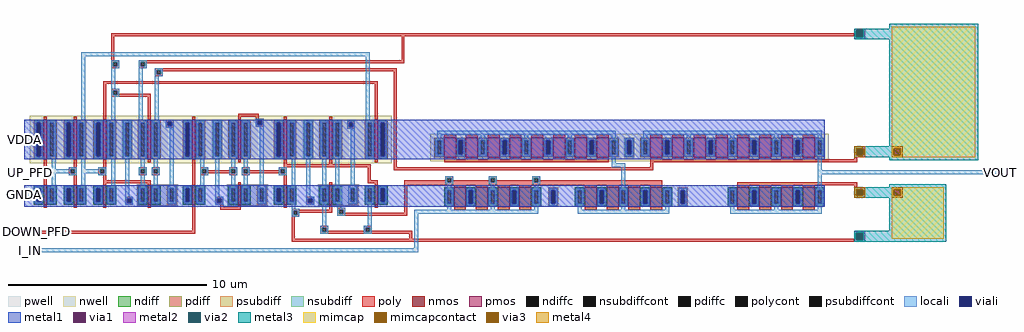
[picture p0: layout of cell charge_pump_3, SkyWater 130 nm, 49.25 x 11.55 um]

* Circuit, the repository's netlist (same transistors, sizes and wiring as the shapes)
* NGSPICE file created from charge_pump_3.ext - technology: sky130A

**.subckt charge_pump_3
X0 VDDA I_IN a_n3060_500# VDDA sky130_fd_pr__nfet_01v8 ad=0.25 pd=1.5 as=0.5 ps=3 w=1 l=0.6
X1 VOUT a_n5920_20# VDDA VDDA sky130_fd_pr__pfet_01v8 ad=0.25 pd=1.5 as=0.25 ps=1.5 w=1 l=0.6
X2 VDDA a_n6670_20# a_n6670_20# VDDA sky130_fd_pr__pfet_01v8 ad=1 pd=5 as=1 ps=5 w=2 l=0.15
X3 a_n3060_500# a_n2960_450# VDDA VDDA sky130_fd_pr__pfet_01v8 ad=0.25 pd=1.5 as=0.25 ps=1.5 w=1 l=0.6
X4 I_IN a_n4550_20# a_n4550_20# VDDA sky130_fd_pr__nfet_01v8 ad=0.5 pd=3 as=0.5 ps=3 w=1 l=0.15
X5 c1_1560_n320# li_1180_n350# sky130_fd_pr__cap_mim_m3_1 l=2.6 w=2.6
X6 a_n5470_20# DOWN_PFD VDDA VDDA sky130_fd_pr__pfet_01v8 ad=1 pd=5 as=1 ps=5 w=2 l=0.15
X7 a_n4550_20# a_n5010_20# VDDA VDDA sky130_fd_pr__nfet_01v8 ad=0.5 pd=3 as=0.5 ps=3 w=1 l=0.15
X8 VDDA a_0_n30# VOUT VDDA sky130_fd_pr__nfet_01v8 ad=0.25 pd=1.5 as=0.5 ps=3 w=1 l=0.6
X9 a_n6370_20# a_n6670_20# VDDA VDDA sky130_fd_pr__pfet_01v8 ad=1 pd=5 as=1 ps=5 w=2 l=0.15
X10 VDDA a_n2960_450# a_n3060_500# VDDA sky130_fd_pr__pfet_01v8 ad=0.25 pd=1.5 as=0.25 ps=1.5 w=1 l=0.6
X11 VDDA I_IN I_IN VDDA sky130_fd_pr__nfet_01v8 ad=0.25 pd=1.5 as=0.5 ps=3 w=1 l=0.6
X12 a_n5920_20# a_n6670_20# a_n6370_20# VDDA sky130_fd_pr__nfet_01v8 ad=0.5 pd=3 as=0.5 ps=3 w=1 l=0.15
X13 VOUT a_0_n30# VDDA VDDA sky130_fd_pr__nfet_01v8 ad=0.25 pd=1.5 as=0.25 ps=1.5 w=1 l=0.6
X14 a_n6670_20# a_n6970_20# VDDA VDDA sky130_fd_pr__pfet_01v8 ad=1 pd=5 as=1 ps=5 w=2 l=0.15
X15 a_n3060_500# a_n2960_450# VDDA VDDA sky130_fd_pr__pfet_01v8 ad=0.5 pd=3 as=0.25 ps=1.5 w=1 l=0.6
X16 I_IN a_n5010_20# a_n4550_20# VDDA sky130_fd_pr__pfet_01v8 ad=1 pd=5 as=1 ps=5 w=2 l=0.15
X17 a_n6970_20# UP_PFD VDDA VDDA sky130_fd_pr__pfet_01v8 ad=1 pd=5 as=1 ps=5 w=2 l=0.15
X18 a_n6370_20# a_n6670_20# VDDA VDDA sky130_fd_pr__nfet_01v8 ad=0.5 pd=3 as=0.5 ps=3 w=1 l=0.15
X19 a_n5010_20# VDDA a_n5470_20# VDDA sky130_fd_pr__nfet_01v8 ad=0.5 pd=3 as=0.5 ps=3 w=1 l=0.15
X20 a_n5470_20# DOWN_PFD VDDA VDDA sky130_fd_pr__nfet_01v8 ad=0.5 pd=3 as=0.5 ps=3 w=1 l=0.15
X21 VDDA a_n2960_450# a_n3060_500# VDDA sky130_fd_pr__pfet_01v8 ad=0.25 pd=1.5 as=0.5 ps=3 w=1 l=0.6
X22 VDDA a_0_n30# VOUT VDDA sky130_fd_pr__nfet_01v8 ad=0.25 pd=1.5 as=0.25 ps=1.5 w=1 l=0.6
X23 a_n4550_20# a_n5010_20# VDDA VDDA sky130_fd_pr__pfet_01v8 ad=1 pd=5 as=1 ps=5 w=2 l=0.15
X24 a_n3060_500# a_n2960_450# VDDA VDDA sky130_fd_pr__pfet_01v8 ad=0.25 pd=1.5 as=0.25 ps=1.5 w=1 l=0.6
X25 VDDA a_n5920_20# VOUT VDDA sky130_fd_pr__pfet_01v8 ad=0.25 pd=1.5 as=0.5 ps=3 w=1 l=0.6
X26 a_n3060_500# a_n2960_450# VDDA VDDA sky130_fd_pr__pfet_01v8 ad=0.25 pd=1.5 as=0.25 ps=1.5 w=1 l=0.6
X27 a_n6670_20# a_n6970_20# VDDA VDDA sky130_fd_pr__nfet_01v8 ad=0.5 pd=3 as=0.5 ps=3 w=1 l=0.15
X28 VDDA I_IN I_IN VDDA sky130_fd_pr__nfet_01v8 ad=0.25 pd=1.5 as=0.25 ps=1.5 w=1 l=0.6
X29 VDDA a_n2960_450# a_n3060_500# VDDA sky130_fd_pr__pfet_01v8 ad=0.25 pd=1.5 as=0.25 ps=1.5 w=1 l=0.6
X30 a_n3060_500# I_IN VDDA VDDA sky130_fd_pr__nfet_01v8 ad=0.25 pd=1.5 as=0.25 ps=1.5 w=1 l=0.6
X31 VDDA a_n2960_450# a_n3060_500# VDDA sky130_fd_pr__pfet_01v8 ad=0.25 pd=1.5 as=0.25 ps=1.5 w=1 l=0.6
X32 VOUT a_n5920_20# VDDA VDDA sky130_fd_pr__pfet_01v8 ad=0.25 pd=1.5 as=0.25 ps=1.5 w=1 l=0.6
X33 VDDA a_n5920_20# VOUT VDDA sky130_fd_pr__pfet_01v8 ad=0.25 pd=1.5 as=0.25 ps=1.5 w=1 l=0.6
X34 VOUT a_n5920_20# VDDA VDDA sky130_fd_pr__pfet_01v8 ad=0.5 pd=3 as=0.25 ps=1.5 w=1 l=0.6
X35 VDDA a_n5010_20# a_n4550_20# VDDA sky130_fd_pr__nfet_01v8 ad=0.5 pd=3 as=0.5 ps=3 w=1 l=0.15
X36 I_IN I_IN VDDA VDDA sky130_fd_pr__nfet_01v8 ad=0.5 pd=3 as=0.25 ps=1.5 w=1 l=0.6
X37 c1_1560_500# li_1180_500# sky130_fd_pr__cap_mim_m3_1 l=6.6 w=4.2
X38 a_n5010_20# VDDA a_n5470_20# VDDA sky130_fd_pr__pfet_01v8 ad=1 pd=5 as=1 ps=5 w=2 l=0.15
X39 VDDA a_n5920_20# VOUT VDDA sky130_fd_pr__pfet_01v8 ad=0.25 pd=1.5 as=0.25 ps=1.5 w=1 l=0.6
X40 a_n6970_20# UP_PFD VDDA VDDA sky130_fd_pr__nfet_01v8 ad=0.5 pd=3 as=0.5 ps=3 w=1 l=0.15
X41 VOUT a_0_n30# VDDA VDDA sky130_fd_pr__nfet_01v8 ad=0.5 pd=3 as=0.25 ps=1.5 w=1 l=0.6
X42 VDDA I_IN a_n3060_500# VDDA sky130_fd_pr__nfet_01v8 ad=0.25 pd=1.5 as=0.25 ps=1.5 w=1 l=0.6
X43 a_n3060_500# I_IN VDDA VDDA sky130_fd_pr__nfet_01v8 ad=0.5 pd=3 as=0.25 ps=1.5 w=1 l=0.6
X44 a_n5920_20# a_n6370_20# a_n6370_20# VDDA sky130_fd_pr__pfet_01v8 ad=1 pd=5 as=1 ps=5 w=2 l=0.15
X45 VDDA a_n5920_20# VOUT VDDA sky130_fd_pr__pfet_01v8 ad=0.25 pd=1.5 as=0.25 ps=1.5 w=1 l=0.6
X46 I_IN I_IN VDDA VDDA sky130_fd_pr__nfet_01v8 ad=0.25 pd=1.5 as=0.25 ps=1.5 w=1 l=0.6
X47 VOUT a_n5920_20# VDDA VDDA sky130_fd_pr__pfet_01v8 ad=0.25 pd=1.5 as=0.25 ps=1.5 w=1 l=0.6
.ends

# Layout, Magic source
magic
tech sky130A
<< nwell >>
rect -3570 220 -1745 460
rect -1550 230 460 370
<< pwell >>
rect -3030 5 -2825 115
rect -2575 5 -2370 115
rect -2115 5 -1910 115
<< nmos >>
rect -3500 10 -3485 110
rect -3350 10 -3335 110
rect -3200 10 -3185 110
rect -2975 10 -2960 110
rect -2750 10 -2735 110
rect -2520 10 -2505 110
rect -2290 10 -2275 110
rect -2060 10 -2045 110
rect -1830 10 -1815 110
rect -1430 0 -1370 100
rect -1320 0 -1260 100
rect -1210 0 -1150 100
rect -1100 0 -1040 100
rect -770 0 -710 100
rect -660 0 -600 100
rect -550 0 -490 100
rect -440 0 -380 100
rect 0 0 60 100
rect 110 0 170 100
rect 220 0 280 100
rect 330 0 390 100
<< pmos >>
rect -3500 240 -3485 440
rect -3350 240 -3335 440
rect -3200 240 -3185 440
rect -2975 240 -2960 440
rect -2750 240 -2735 440
rect -2520 240 -2505 440
rect -2290 240 -2275 440
rect -2060 240 -2045 440
rect -1830 240 -1815 440
rect -1480 250 -1420 350
rect -1370 250 -1310 350
rect -1260 250 -1200 350
rect -1150 250 -1090 350
rect -1040 250 -980 350
rect -930 250 -870 350
rect -820 250 -760 350
rect -710 250 -650 350
rect -440 250 -380 350
rect -330 250 -270 350
rect -220 250 -160 350
rect -110 250 -50 350
rect 0 250 60 350
rect 110 250 170 350
rect 220 250 280 350
rect 330 250 390 350
<< ndiff >>
rect -3550 95 -3500 110
rect -3550 25 -3535 95
rect -3515 25 -3500 95
rect -3550 10 -3500 25
rect -3485 95 -3435 110
rect -3485 25 -3470 95
rect -3450 25 -3435 95
rect -3485 10 -3435 25
rect -3400 95 -3350 110
rect -3400 25 -3385 95
rect -3365 25 -3350 95
rect -3400 10 -3350 25
rect -3335 95 -3285 110
rect -3335 25 -3320 95
rect -3300 25 -3285 95
rect -3335 10 -3285 25
rect -3250 95 -3200 110
rect -3250 25 -3235 95
rect -3215 25 -3200 95
rect -3250 10 -3200 25
rect -3185 95 -3135 110
rect -3185 25 -3170 95
rect -3150 25 -3135 95
rect -3025 95 -2975 110
rect -3185 10 -3135 25
rect -3025 25 -3010 95
rect -2990 25 -2975 95
rect -3025 10 -2975 25
rect -2960 95 -2910 110
rect -2960 25 -2945 95
rect -2925 25 -2910 95
rect -2960 10 -2910 25
rect -2800 95 -2750 110
rect -2800 25 -2785 95
rect -2765 25 -2750 95
rect -2800 10 -2750 25
rect -2735 95 -2685 110
rect -2735 25 -2720 95
rect -2700 25 -2685 95
rect -2570 95 -2520 110
rect -2735 10 -2685 25
rect -2570 25 -2555 95
rect -2535 25 -2520 95
rect -2570 10 -2520 25
rect -2505 95 -2455 110
rect -2505 25 -2490 95
rect -2470 25 -2455 95
rect -2505 10 -2455 25
rect -2340 95 -2290 110
rect -2340 25 -2325 95
rect -2305 25 -2290 95
rect -2340 10 -2290 25
rect -2275 95 -2225 110
rect -2275 25 -2260 95
rect -2240 25 -2225 95
rect -2110 95 -2060 110
rect -2275 10 -2225 25
rect -2110 25 -2095 95
rect -2075 25 -2060 95
rect -2110 10 -2060 25
rect -2045 95 -1995 110
rect -2045 25 -2030 95
rect -2010 25 -1995 95
rect -2045 10 -1995 25
rect -1880 95 -1830 110
rect -1880 25 -1865 95
rect -1845 25 -1830 95
rect -1880 10 -1830 25
rect -1815 95 -1765 110
rect -1815 25 -1800 95
rect -1780 25 -1765 95
rect -1815 10 -1765 25
rect -1480 85 -1430 100
rect -1480 15 -1465 85
rect -1445 15 -1430 85
rect -1480 0 -1430 15
rect -1370 85 -1320 100
rect -1370 15 -1355 85
rect -1335 15 -1320 85
rect -1370 0 -1320 15
rect -1260 85 -1210 100
rect -1260 15 -1245 85
rect -1225 15 -1210 85
rect -1260 0 -1210 15
rect -1150 85 -1100 100
rect -1150 15 -1135 85
rect -1115 15 -1100 85
rect -1150 0 -1100 15
rect -1040 85 -990 100
rect -1040 15 -1025 85
rect -1005 15 -990 85
rect -1040 0 -990 15
rect -820 85 -770 100
rect -820 15 -805 85
rect -785 15 -770 85
rect -820 0 -770 15
rect -710 85 -660 100
rect -710 15 -695 85
rect -675 15 -660 85
rect -710 0 -660 15
rect -600 85 -550 100
rect -600 15 -585 85
rect -565 15 -550 85
rect -600 0 -550 15
rect -490 85 -440 100
rect -490 15 -475 85
rect -455 15 -440 85
rect -490 0 -440 15
rect -380 85 -330 100
rect -380 15 -365 85
rect -345 15 -330 85
rect -380 0 -330 15
rect -50 85 0 100
rect -50 15 -35 85
rect -15 15 0 85
rect -50 0 0 15
rect 60 85 110 100
rect 60 15 75 85
rect 95 15 110 85
rect 60 0 110 15
rect 170 85 220 100
rect 170 15 185 85
rect 205 15 220 85
rect 170 0 220 15
rect 280 85 330 100
rect 280 15 295 85
rect 315 15 330 85
rect 280 0 330 15
rect 390 85 440 100
rect 390 15 405 85
rect 425 15 440 85
rect 390 0 440 15
<< pdiff >>
rect -3550 425 -3500 440
rect -3550 255 -3535 425
rect -3515 255 -3500 425
rect -3550 240 -3500 255
rect -3485 425 -3435 440
rect -3485 255 -3470 425
rect -3450 255 -3435 425
rect -3485 240 -3435 255
rect -3400 425 -3350 440
rect -3400 255 -3385 425
rect -3365 255 -3350 425
rect -3400 240 -3350 255
rect -3335 425 -3285 440
rect -3335 255 -3320 425
rect -3300 255 -3285 425
rect -3335 240 -3285 255
rect -3250 425 -3200 440
rect -3250 255 -3235 425
rect -3215 255 -3200 425
rect -3250 240 -3200 255
rect -3185 425 -3135 440
rect -3185 255 -3170 425
rect -3150 255 -3135 425
rect -3185 240 -3135 255
rect -3025 425 -2975 440
rect -3025 255 -3010 425
rect -2990 255 -2975 425
rect -3025 240 -2975 255
rect -2960 425 -2910 440
rect -2960 255 -2945 425
rect -2925 255 -2910 425
rect -2800 425 -2750 440
rect -2960 240 -2910 255
rect -2800 255 -2785 425
rect -2765 255 -2750 425
rect -2800 240 -2750 255
rect -2735 425 -2685 440
rect -2735 255 -2720 425
rect -2700 255 -2685 425
rect -2735 240 -2685 255
rect -2570 425 -2520 440
rect -2570 255 -2555 425
rect -2535 255 -2520 425
rect -2570 240 -2520 255
rect -2505 425 -2455 440
rect -2505 255 -2490 425
rect -2470 255 -2455 425
rect -2340 425 -2290 440
rect -2505 240 -2455 255
rect -2340 255 -2325 425
rect -2305 255 -2290 425
rect -2340 240 -2290 255
rect -2275 425 -2225 440
rect -2275 255 -2260 425
rect -2240 255 -2225 425
rect -2275 240 -2225 255
rect -2110 425 -2060 440
rect -2110 255 -2095 425
rect -2075 255 -2060 425
rect -2110 240 -2060 255
rect -2045 425 -1995 440
rect -2045 255 -2030 425
rect -2010 255 -1995 425
rect -1880 425 -1830 440
rect -2045 240 -1995 255
rect -1880 255 -1865 425
rect -1845 255 -1830 425
rect -1880 240 -1830 255
rect -1815 425 -1765 440
rect -1815 255 -1800 425
rect -1780 255 -1765 425
rect -1815 240 -1765 255
rect -1530 335 -1480 350
rect -1530 265 -1515 335
rect -1495 265 -1480 335
rect -1530 250 -1480 265
rect -1420 335 -1370 350
rect -1420 265 -1405 335
rect -1385 265 -1370 335
rect -1420 250 -1370 265
rect -1310 335 -1260 350
rect -1310 265 -1295 335
rect -1275 265 -1260 335
rect -1310 250 -1260 265
rect -1200 335 -1150 350
rect -1200 265 -1185 335
rect -1165 265 -1150 335
rect -1200 250 -1150 265
rect -1090 335 -1040 350
rect -1090 265 -1075 335
rect -1055 265 -1040 335
rect -1090 250 -1040 265
rect -980 335 -930 350
rect -980 265 -965 335
rect -945 265 -930 335
rect -980 250 -930 265
rect -870 335 -820 350
rect -870 265 -855 335
rect -835 265 -820 335
rect -870 250 -820 265
rect -760 335 -710 350
rect -760 265 -745 335
rect -725 265 -710 335
rect -760 250 -710 265
rect -650 335 -600 350
rect -650 265 -635 335
rect -615 265 -600 335
rect -650 250 -600 265
rect -490 335 -440 350
rect -490 265 -475 335
rect -455 265 -440 335
rect -490 250 -440 265
rect -380 335 -330 350
rect -380 265 -365 335
rect -345 265 -330 335
rect -380 250 -330 265
rect -270 335 -220 350
rect -270 265 -255 335
rect -235 265 -220 335
rect -270 250 -220 265
rect -160 335 -110 350
rect -160 265 -145 335
rect -125 265 -110 335
rect -160 250 -110 265
rect -50 335 0 350
rect -50 265 -35 335
rect -15 265 0 335
rect -50 250 0 265
rect 60 335 110 350
rect 60 265 75 335
rect 95 265 110 335
rect 60 250 110 265
rect 170 335 220 350
rect 170 265 185 335
rect 205 265 220 335
rect 170 250 220 265
rect 280 335 330 350
rect 280 265 295 335
rect 315 265 330 335
rect 280 250 330 265
rect 390 335 440 350
rect 390 265 405 335
rect 425 265 440 335
rect 390 250 440 265
<< ndiffc >>
rect -3535 25 -3515 95
rect -3470 25 -3450 95
rect -3385 25 -3365 95
rect -3320 25 -3300 95
rect -3235 25 -3215 95
rect -3170 25 -3150 95
rect -3010 25 -2990 95
rect -2945 25 -2925 95
rect -2785 25 -2765 95
rect -2720 25 -2700 95
rect -2555 25 -2535 95
rect -2490 25 -2470 95
rect -2325 25 -2305 95
rect -2260 25 -2240 95
rect -2095 25 -2075 95
rect -2030 25 -2010 95
rect -1865 25 -1845 95
rect -1800 25 -1780 95
rect -1465 15 -1445 85
rect -1355 15 -1335 85
rect -1245 15 -1225 85
rect -1135 15 -1115 85
rect -1025 15 -1005 85
rect -805 15 -785 85
rect -695 15 -675 85
rect -585 15 -565 85
rect -475 15 -455 85
rect -365 15 -345 85
rect -35 15 -15 85
rect 75 15 95 85
rect 185 15 205 85
rect 295 15 315 85
rect 405 15 425 85
<< pdiffc >>
rect -3535 255 -3515 425
rect -3470 255 -3450 425
rect -3385 255 -3365 425
rect -3320 255 -3300 425
rect -3235 255 -3215 425
rect -3170 255 -3150 425
rect -3010 255 -2990 425
rect -2945 255 -2925 425
rect -2785 255 -2765 425
rect -2720 255 -2700 425
rect -2555 255 -2535 425
rect -2490 255 -2470 425
rect -2325 255 -2305 425
rect -2260 255 -2240 425
rect -2095 255 -2075 425
rect -2030 255 -2010 425
rect -1865 255 -1845 425
rect -1800 255 -1780 425
rect -1515 265 -1495 335
rect -1405 265 -1385 335
rect -1295 265 -1275 335
rect -1185 265 -1165 335
rect -1075 265 -1055 335
rect -965 265 -945 335
rect -855 265 -835 335
rect -745 265 -725 335
rect -635 265 -615 335
rect -475 265 -455 335
rect -365 265 -345 335
rect -255 265 -235 335
rect -145 265 -125 335
rect -35 265 -15 335
rect 75 265 95 335
rect 185 265 205 335
rect 295 265 315 335
rect 405 265 425 335
<< psubdiff >>
rect -2880 95 -2830 110
rect -2880 25 -2865 95
rect -2845 25 -2830 95
rect -2880 10 -2830 25
rect -2425 95 -2375 110
rect -2425 25 -2410 95
rect -2390 25 -2375 95
rect -2425 10 -2375 25
rect -1965 95 -1915 110
rect -1965 25 -1950 95
rect -1930 25 -1915 95
rect -1965 10 -1915 25
rect -955 85 -905 100
rect -955 15 -940 85
rect -920 15 -905 85
rect -955 0 -905 15
rect -300 85 -250 100
rect -300 15 -285 85
rect -265 15 -250 85
rect -300 0 -250 15
<< nsubdiff >>
rect -3105 425 -3055 440
rect -3105 255 -3090 425
rect -3070 255 -3055 425
rect -3105 240 -3055 255
rect -2650 425 -2600 440
rect -2650 255 -2635 425
rect -2615 255 -2600 425
rect -2650 240 -2600 255
rect -2190 425 -2140 440
rect -2190 255 -2175 425
rect -2155 255 -2140 425
rect -2190 240 -2140 255
rect -570 335 -520 350
rect -570 265 -555 335
rect -535 265 -520 335
rect -570 250 -520 265
<< psubdiffcont >>
rect -2865 25 -2845 95
rect -2410 25 -2390 95
rect -1950 25 -1930 95
rect -940 15 -920 85
rect -285 15 -265 85
<< nsubdiffcont >>
rect -3090 255 -3070 425
rect -2635 255 -2615 425
rect -2175 255 -2155 425
rect -555 265 -535 335
<< poly >>
rect -3160 860 590 875
rect -3160 740 -3145 860
rect -1695 740 -1680 860
rect -3160 730 -3120 740
rect -3160 710 -3150 730
rect -3130 710 -3120 730
rect -3160 700 -3120 710
rect -3020 730 -1680 740
rect -3020 710 -3010 730
rect -2990 725 -1680 730
rect -2990 710 -2980 725
rect -3020 700 -2980 710
rect -2940 690 -1720 700
rect -2940 670 -2930 690
rect -2910 685 -1720 690
rect -2910 670 -2900 685
rect -2940 660 -2900 670
rect -3200 620 -1815 635
rect -3500 440 -3485 455
rect -3350 440 -3335 455
rect -3200 440 -3185 620
rect -3160 585 -3120 595
rect -3160 565 -3150 585
rect -3130 570 -3120 585
rect -3130 565 -2960 570
rect -3160 555 -2960 565
rect -2975 440 -2960 555
rect -2520 455 -2415 470
rect -2750 440 -2735 455
rect -2520 440 -2505 455
rect -2430 445 -2415 455
rect -2885 430 -2845 440
rect -2885 410 -2875 430
rect -2855 410 -2845 430
rect -2885 400 -2845 410
rect -2430 435 -2390 445
rect -2290 440 -2275 455
rect -2060 440 -2045 455
rect -1830 440 -1815 620
rect -2430 415 -2420 435
rect -2400 415 -2390 435
rect -2430 405 -2390 415
rect -1970 425 -1930 435
rect -1970 405 -1960 425
rect -1940 405 -1930 425
rect -1970 395 -1930 405
rect -3500 185 -3485 240
rect -3350 200 -3335 240
rect -3200 200 -3185 240
rect -2975 225 -2960 240
rect -3565 170 -3485 185
rect -3500 110 -3485 170
rect -3375 190 -3335 200
rect -3375 170 -3365 190
rect -3345 170 -3335 190
rect -3375 160 -3335 170
rect -3225 190 -3185 200
rect -3225 170 -3215 190
rect -3195 170 -3185 190
rect -3225 160 -3185 170
rect -3020 190 -2980 200
rect -3020 170 -3010 190
rect -2990 170 -2980 190
rect -3020 160 -2980 170
rect -2955 190 -2915 200
rect -2955 170 -2945 190
rect -2925 170 -2915 190
rect -2955 160 -2915 170
rect -3350 110 -3335 160
rect -3200 135 -3185 160
rect -3200 120 -2960 135
rect -3200 110 -3185 120
rect -2975 110 -2960 120
rect -2750 110 -2735 240
rect -2520 225 -2505 240
rect -2290 215 -2275 240
rect -2060 215 -2045 240
rect -1830 225 -1815 240
rect -2290 200 -1850 215
rect -2710 190 -2670 200
rect -2710 170 -2700 190
rect -2680 185 -2670 190
rect -2565 190 -2525 200
rect -2565 185 -2555 190
rect -2680 170 -2555 185
rect -2535 170 -2525 190
rect -2710 160 -2670 170
rect -2565 160 -2525 170
rect -2500 190 -2460 200
rect -2500 170 -2490 190
rect -2470 185 -2460 190
rect -2315 190 -2275 200
rect -2315 185 -2305 190
rect -2470 170 -2305 185
rect -2285 170 -2275 190
rect -2500 160 -2460 170
rect -2315 160 -2275 170
rect -2520 110 -2505 125
rect -2290 110 -2275 160
rect -1865 135 -1850 200
rect -1735 200 -1720 685
rect -1480 350 -1420 365
rect -1370 350 -1310 365
rect -1260 350 -1200 365
rect -1150 350 -1090 365
rect -1040 350 -980 365
rect -930 350 -870 365
rect -820 350 -760 365
rect -710 350 -650 365
rect -440 350 -380 365
rect -330 350 -270 365
rect -220 350 -160 365
rect -110 350 -50 365
rect 0 350 60 365
rect 110 350 170 365
rect 220 350 280 365
rect 330 350 390 365
rect -1480 240 -1420 250
rect -1370 240 -1310 250
rect -1260 240 -1200 250
rect -1150 240 -1090 250
rect -1040 240 -980 250
rect -930 240 -870 250
rect -820 240 -760 250
rect -710 240 -650 250
rect -1480 225 -650 240
rect -440 240 -380 250
rect -330 240 -270 250
rect -220 240 -160 250
rect -110 240 -50 250
rect 0 240 60 250
rect 110 240 170 250
rect 220 240 280 250
rect 330 240 390 250
rect 590 240 605 250
rect -440 225 605 240
rect -440 200 -425 225
rect -1735 185 -425 200
rect -1475 145 -1435 155
rect -1475 135 -1465 145
rect -2060 110 -2045 125
rect -1865 120 -1815 135
rect -1830 110 -1815 120
rect -1680 125 -1465 135
rect -1445 135 -1435 145
rect -1255 145 -1215 155
rect -1255 135 -1245 145
rect -1445 125 -1245 135
rect -1225 135 -1215 145
rect -1035 145 -995 155
rect -1035 135 -1025 145
rect -1225 125 -1025 135
rect -1005 135 -995 145
rect -1005 125 -380 135
rect -1680 110 -380 125
rect -3090 40 -3050 50
rect -3090 20 -3080 40
rect -3060 20 -3050 40
rect -3090 10 -3050 20
rect -2635 40 -2595 50
rect -2635 20 -2625 40
rect -2605 20 -2595 40
rect -2635 10 -2595 20
rect -2175 40 -2135 50
rect -2175 20 -2165 40
rect -2145 20 -2135 40
rect -2175 10 -2135 20
rect -3500 -5 -3485 10
rect -3350 -5 -3335 10
rect -3200 -5 -3185 10
rect -2975 -5 -2960 10
rect -2750 -120 -2735 10
rect -2610 0 -2595 10
rect -2520 0 -2505 10
rect -2610 -15 -2505 0
rect -2290 -5 -2275 10
rect -2250 -15 -2210 -10
rect -2060 -15 -2045 10
rect -1830 -5 -1815 10
rect -3565 -135 -2735 -120
rect -2250 -20 -2045 -15
rect -2250 -40 -2240 -20
rect -2220 -30 -2045 -20
rect -2020 -15 -1980 -5
rect -2220 -40 -2210 -30
rect -2250 -50 -2210 -40
rect -2020 -35 -2010 -15
rect -1990 -30 -1980 -15
rect -1680 -30 -1665 110
rect -1430 100 -1370 110
rect -1320 100 -1260 110
rect -1210 100 -1150 110
rect -1100 100 -1040 110
rect -770 100 -710 110
rect -660 100 -600 110
rect -550 100 -490 110
rect -440 100 -380 110
rect 0 110 605 125
rect 0 100 60 110
rect 110 100 170 110
rect 220 100 280 110
rect 330 100 390 110
rect 590 100 605 110
rect -1430 -15 -1370 0
rect -1320 -15 -1260 0
rect -1210 -15 -1150 0
rect -1100 -15 -1040 0
rect -770 -15 -710 0
rect -660 -15 -600 0
rect -550 -15 -490 0
rect -440 -15 -380 0
rect 0 -15 60 0
rect 110 -15 170 0
rect 220 -15 280 0
rect 330 -15 390 0
rect -1990 -35 -1665 -30
rect -2020 -45 -1665 -35
rect -2250 -160 -2235 -50
rect -2105 -105 -2065 -95
rect -2105 -125 -2095 -105
rect -2075 -120 -2065 -105
rect -1885 -105 -1845 -95
rect -1885 -120 -1875 -105
rect -2075 -125 -1875 -120
rect -1855 -120 -1845 -105
rect -1855 -125 -1640 -120
rect -2105 -135 -1640 -125
rect -1655 -160 -1640 -135
rect -2250 -175 590 -160
<< polycont >>
rect -3150 710 -3130 730
rect -3010 710 -2990 730
rect -2930 670 -2910 690
rect -3150 565 -3130 585
rect -2875 410 -2855 430
rect -2420 415 -2400 435
rect -1960 405 -1940 425
rect -3365 170 -3345 190
rect -3215 170 -3195 190
rect -3010 170 -2990 190
rect -2945 170 -2925 190
rect -2700 170 -2680 190
rect -2555 170 -2535 190
rect -2490 170 -2470 190
rect -2305 170 -2285 190
rect -1465 125 -1445 145
rect -1245 125 -1225 145
rect -1025 125 -1005 145
rect -3080 20 -3060 40
rect -2625 20 -2605 40
rect -2165 20 -2145 40
rect -2240 -40 -2220 -20
rect -2010 -35 -1990 -15
rect -2095 -125 -2075 -105
rect -1875 -125 -1855 -105
<< locali >>
rect 590 890 645 900
rect 590 855 600 890
rect 635 855 645 890
rect 590 845 645 855
rect -3310 760 -1855 780
rect -3310 435 -3290 760
rect -3160 730 -3120 740
rect -3160 710 -3150 730
rect -3130 710 -3120 730
rect -3160 700 -3120 710
rect -3020 730 -2980 740
rect -3020 710 -3010 730
rect -2990 710 -2980 730
rect -3020 700 -2980 710
rect -3160 595 -3140 700
rect -3160 585 -3120 595
rect -3160 565 -3150 585
rect -3130 565 -3120 585
rect -3160 555 -3120 565
rect -3160 435 -3140 555
rect -3020 435 -3000 700
rect -2940 690 -2900 700
rect -2940 670 -2930 690
rect -2910 670 -2900 690
rect -2940 660 -2900 670
rect -2940 435 -2920 660
rect -3545 425 -3505 435
rect -3545 255 -3535 425
rect -3515 255 -3505 425
rect -3545 245 -3505 255
rect -3480 425 -3440 435
rect -3480 255 -3470 425
rect -3450 255 -3440 425
rect -3480 245 -3440 255
rect -3395 425 -3355 435
rect -3395 255 -3385 425
rect -3365 255 -3355 425
rect -3395 245 -3355 255
rect -3330 425 -3290 435
rect -3330 255 -3320 425
rect -3300 255 -3290 425
rect -3330 245 -3290 255
rect -3245 425 -3205 435
rect -3245 255 -3235 425
rect -3215 255 -3205 425
rect -3245 245 -3205 255
rect -3180 425 -3140 435
rect -3180 255 -3170 425
rect -3150 255 -3140 425
rect -3180 245 -3140 255
rect -3100 425 -3060 435
rect -3100 255 -3090 425
rect -3070 255 -3060 425
rect -3100 245 -3060 255
rect -3020 425 -2980 435
rect -3020 255 -3010 425
rect -2990 255 -2980 425
rect -3020 245 -2980 255
rect -2955 425 -2915 435
rect -2955 255 -2945 425
rect -2925 255 -2915 425
rect -2885 430 -2845 440
rect -2430 435 -2390 445
rect -1875 435 -1855 760
rect -2885 410 -2875 430
rect -2855 410 -2845 430
rect -2885 400 -2845 410
rect -2955 245 -2915 255
rect -3460 190 -3440 245
rect -3375 190 -3335 200
rect -3460 170 -3365 190
rect -3345 170 -3335 190
rect -3460 105 -3440 170
rect -3375 160 -3335 170
rect -3310 190 -3290 245
rect -3225 190 -3185 200
rect -3310 170 -3215 190
rect -3195 170 -3185 190
rect -3310 105 -3290 170
rect -3225 160 -3185 170
rect -3160 105 -3140 245
rect -3545 95 -3505 105
rect -3545 25 -3535 95
rect -3515 25 -3505 95
rect -3545 15 -3505 25
rect -3480 95 -3440 105
rect -3480 25 -3470 95
rect -3450 25 -3440 95
rect -3480 15 -3440 25
rect -3395 95 -3355 105
rect -3395 25 -3385 95
rect -3365 25 -3355 95
rect -3395 15 -3355 25
rect -3330 95 -3290 105
rect -3330 25 -3320 95
rect -3300 25 -3290 95
rect -3330 15 -3290 25
rect -3245 95 -3205 105
rect -3245 25 -3235 95
rect -3215 25 -3205 95
rect -3245 15 -3205 25
rect -3180 95 -3140 105
rect -3180 25 -3170 95
rect -3150 25 -3140 95
rect -3180 15 -3140 25
rect -3090 50 -3070 245
rect -3010 200 -2990 245
rect -2945 200 -2925 245
rect -3020 190 -2980 200
rect -3020 170 -3010 190
rect -2990 170 -2980 190
rect -3020 160 -2980 170
rect -2955 190 -2915 200
rect -2955 170 -2945 190
rect -2925 170 -2915 190
rect -2955 160 -2915 170
rect -3010 105 -2990 160
rect -2945 105 -2925 160
rect -2865 105 -2845 400
rect -2795 425 -2755 435
rect -2795 255 -2785 425
rect -2765 255 -2755 425
rect -2795 245 -2755 255
rect -2730 425 -2690 435
rect -2730 255 -2720 425
rect -2700 255 -2690 425
rect -2730 245 -2690 255
rect -2645 425 -2605 435
rect -2645 255 -2635 425
rect -2615 255 -2605 425
rect -2645 245 -2605 255
rect -2565 425 -2525 435
rect -2565 255 -2555 425
rect -2535 255 -2525 425
rect -2565 245 -2525 255
rect -2500 425 -2460 435
rect -2500 255 -2490 425
rect -2470 255 -2460 425
rect -2430 415 -2420 435
rect -2400 415 -2390 435
rect -2430 405 -2390 415
rect -2500 245 -2460 255
rect -2710 200 -2690 245
rect -2710 190 -2670 200
rect -2710 170 -2700 190
rect -2680 170 -2670 190
rect -2710 160 -2670 170
rect -2710 105 -2690 160
rect -3020 95 -2980 105
rect -3090 40 -3050 50
rect -3090 20 -3080 40
rect -3060 20 -3050 40
rect -3090 10 -3050 20
rect -3020 25 -3010 95
rect -2990 25 -2980 95
rect -3020 15 -2980 25
rect -2955 95 -2915 105
rect -2955 25 -2945 95
rect -2925 25 -2915 95
rect -2955 15 -2915 25
rect -2875 95 -2835 105
rect -2875 25 -2865 95
rect -2845 25 -2835 95
rect -2875 15 -2835 25
rect -2795 95 -2755 105
rect -2795 25 -2785 95
rect -2765 25 -2755 95
rect -2795 15 -2755 25
rect -2730 95 -2690 105
rect -2730 25 -2720 95
rect -2700 25 -2690 95
rect -2730 15 -2690 25
rect -2635 50 -2615 245
rect -2555 200 -2535 245
rect -2490 200 -2470 245
rect -2565 190 -2525 200
rect -2565 170 -2555 190
rect -2535 170 -2525 190
rect -2565 160 -2525 170
rect -2500 190 -2460 200
rect -2500 170 -2490 190
rect -2470 170 -2460 190
rect -2500 160 -2460 170
rect -2555 105 -2535 160
rect -2490 105 -2470 160
rect -2410 105 -2390 405
rect -2335 425 -2295 435
rect -2335 255 -2325 425
rect -2305 255 -2295 425
rect -2335 245 -2295 255
rect -2270 425 -2230 435
rect -2270 255 -2260 425
rect -2240 255 -2230 425
rect -2270 245 -2230 255
rect -2185 425 -2145 435
rect -2185 255 -2175 425
rect -2155 255 -2145 425
rect -2185 245 -2145 255
rect -2105 425 -2065 435
rect -2105 255 -2095 425
rect -2075 255 -2065 425
rect -2105 245 -2065 255
rect -2040 425 -2000 435
rect -2040 255 -2030 425
rect -2010 255 -2000 425
rect -1970 425 -1930 435
rect -1970 405 -1960 425
rect -1940 405 -1930 425
rect -1970 395 -1930 405
rect -2040 245 -2000 255
rect -2315 190 -2275 200
rect -2315 170 -2305 190
rect -2285 170 -2275 190
rect -2315 160 -2275 170
rect -2250 105 -2230 245
rect -2565 95 -2525 105
rect -2635 40 -2595 50
rect -2635 20 -2625 40
rect -2605 20 -2595 40
rect -2635 10 -2595 20
rect -2565 25 -2555 95
rect -2535 25 -2525 95
rect -2565 15 -2525 25
rect -2500 95 -2460 105
rect -2500 25 -2490 95
rect -2470 25 -2460 95
rect -2500 15 -2460 25
rect -2420 95 -2380 105
rect -2420 25 -2410 95
rect -2390 25 -2380 95
rect -2420 15 -2380 25
rect -2335 95 -2295 105
rect -2335 25 -2325 95
rect -2305 25 -2295 95
rect -2335 15 -2295 25
rect -2270 95 -2230 105
rect -2270 25 -2260 95
rect -2240 25 -2230 95
rect -2270 15 -2230 25
rect -2250 -10 -2230 15
rect -2175 50 -2155 245
rect -2095 105 -2075 245
rect -2030 105 -2010 245
rect -1950 105 -1930 395
rect -1875 425 -1835 435
rect -1875 255 -1865 425
rect -1845 255 -1835 425
rect -1875 245 -1835 255
rect -1810 425 -1770 435
rect -1810 255 -1800 425
rect -1780 255 -1770 425
rect -1515 365 -615 385
rect -1515 345 -1495 365
rect -1295 345 -1275 365
rect -1075 345 -1055 365
rect -855 345 -835 365
rect -635 345 -615 365
rect -475 365 425 385
rect -475 345 -455 365
rect -255 345 -235 365
rect -35 345 -15 365
rect 185 345 205 365
rect 405 345 425 365
rect -1525 335 -1485 345
rect -1525 265 -1515 335
rect -1495 265 -1485 335
rect -1525 255 -1485 265
rect -1415 335 -1375 345
rect -1415 265 -1405 335
rect -1385 265 -1375 335
rect -1415 255 -1375 265
rect -1305 335 -1265 345
rect -1305 265 -1295 335
rect -1275 265 -1265 335
rect -1305 255 -1265 265
rect -1195 335 -1155 345
rect -1195 265 -1185 335
rect -1165 265 -1155 335
rect -1195 255 -1155 265
rect -1085 335 -1045 345
rect -1085 265 -1075 335
rect -1055 265 -1045 335
rect -1085 255 -1045 265
rect -975 335 -935 345
rect -975 265 -965 335
rect -945 265 -935 335
rect -975 255 -935 265
rect -865 335 -825 345
rect -865 265 -855 335
rect -835 265 -825 335
rect -865 255 -825 265
rect -755 335 -715 345
rect -755 265 -745 335
rect -725 265 -715 335
rect -755 255 -715 265
rect -645 335 -605 345
rect -645 265 -635 335
rect -615 265 -605 335
rect -645 255 -605 265
rect -565 335 -525 345
rect -565 265 -555 335
rect -535 265 -525 335
rect -565 255 -525 265
rect -485 335 -445 345
rect -485 265 -475 335
rect -455 265 -445 335
rect -485 255 -445 265
rect -375 335 -335 345
rect -375 265 -365 335
rect -345 265 -335 335
rect -375 255 -335 265
rect -265 335 -225 345
rect -265 265 -255 335
rect -235 265 -225 335
rect -265 255 -225 265
rect -155 335 -115 345
rect -155 265 -145 335
rect -125 265 -115 335
rect -155 255 -115 265
rect -45 335 -5 345
rect -45 265 -35 335
rect -15 265 -5 335
rect -45 255 -5 265
rect 65 335 105 345
rect 65 265 75 335
rect 95 265 105 335
rect 65 255 105 265
rect 175 335 215 345
rect 175 265 185 335
rect 205 265 215 335
rect 175 255 215 265
rect 285 335 325 345
rect 285 265 295 335
rect 315 265 325 335
rect 285 255 325 265
rect 395 335 435 345
rect 395 265 405 335
rect 425 265 435 335
rect 395 255 435 265
rect 590 295 645 305
rect 590 260 600 295
rect 635 260 645 295
rect -1810 245 -1770 255
rect -635 220 -615 255
rect -635 200 -565 220
rect -1475 145 -1435 155
rect -1475 125 -1465 145
rect -1445 125 -1435 145
rect -1475 115 -1435 125
rect -1255 145 -1215 155
rect -1255 125 -1245 145
rect -1225 125 -1215 145
rect -1255 115 -1215 125
rect -1035 145 -995 155
rect -1035 125 -1025 145
rect -1005 125 -995 145
rect -1035 115 -995 125
rect -2105 95 -2065 105
rect -2175 40 -2135 50
rect -2175 20 -2165 40
rect -2145 20 -2135 40
rect -2175 10 -2135 20
rect -2105 25 -2095 95
rect -2075 25 -2065 95
rect -2105 15 -2065 25
rect -2040 95 -1995 105
rect -2040 25 -2030 95
rect -2010 25 -1995 95
rect -2040 15 -1995 25
rect -1965 95 -1920 105
rect -1965 25 -1950 95
rect -1930 25 -1920 95
rect -1965 15 -1920 25
rect -1875 95 -1835 105
rect -1875 25 -1865 95
rect -1845 25 -1835 95
rect -1875 15 -1835 25
rect -1810 95 -1770 105
rect -1465 95 -1445 115
rect -1245 95 -1225 115
rect -1025 95 -1005 115
rect -585 95 -565 200
rect 405 185 425 255
rect 590 250 645 260
rect 405 165 1325 185
rect 405 95 425 165
rect -1810 25 -1800 95
rect -1780 25 -1770 95
rect -1810 15 -1770 25
rect -1475 85 -1435 95
rect -1475 15 -1465 85
rect -1445 15 -1435 85
rect -2250 -20 -2210 -10
rect -2250 -40 -2240 -20
rect -2220 -40 -2210 -20
rect -2250 -50 -2210 -40
rect -2095 -95 -2075 15
rect -2020 -5 -2000 15
rect -2020 -15 -1980 -5
rect -2020 -35 -2010 -15
rect -1990 -35 -1980 -15
rect -2020 -45 -1980 -35
rect -1865 -95 -1845 15
rect -1475 5 -1435 15
rect -1365 85 -1325 95
rect -1365 15 -1355 85
rect -1335 15 -1325 85
rect -1365 5 -1325 15
rect -1255 85 -1215 95
rect -1255 15 -1245 85
rect -1225 15 -1215 85
rect -1255 5 -1215 15
rect -1145 85 -1105 95
rect -1145 15 -1135 85
rect -1115 15 -1105 85
rect -1145 5 -1105 15
rect -1035 85 -995 95
rect -1035 15 -1025 85
rect -1005 15 -995 85
rect -1035 5 -995 15
rect -950 85 -910 95
rect -950 15 -940 85
rect -920 15 -910 85
rect -950 5 -910 15
rect -815 85 -775 95
rect -815 15 -805 85
rect -785 15 -775 85
rect -815 5 -775 15
rect -705 85 -665 95
rect -705 15 -695 85
rect -675 15 -665 85
rect -705 5 -665 15
rect -595 85 -555 95
rect -595 15 -585 85
rect -565 15 -555 85
rect -595 5 -555 15
rect -485 85 -445 95
rect -485 15 -475 85
rect -455 15 -445 85
rect -485 5 -445 15
rect -375 85 -335 95
rect -375 15 -365 85
rect -345 15 -335 85
rect -375 5 -335 15
rect -295 85 -255 95
rect -295 15 -285 85
rect -265 15 -255 85
rect -295 5 -255 15
rect -45 85 -5 95
rect -45 15 -35 85
rect -15 15 -5 85
rect -45 5 -5 15
rect 65 85 105 95
rect 65 15 75 85
rect 95 15 105 85
rect 65 5 105 15
rect 175 85 215 95
rect 175 15 185 85
rect 205 15 215 85
rect 175 5 215 15
rect 285 85 325 95
rect 285 15 295 85
rect 315 15 325 85
rect 285 5 325 15
rect 395 85 435 95
rect 395 15 405 85
rect 425 15 435 85
rect 590 90 645 100
rect 590 55 600 90
rect 635 55 645 90
rect 590 45 645 55
rect 395 5 435 15
rect -1465 -15 -1445 5
rect -1245 -15 -1225 5
rect -1025 -15 -1005 5
rect -2105 -105 -2065 -95
rect -2105 -125 -2095 -105
rect -2075 -125 -2065 -105
rect -2105 -135 -2065 -125
rect -1885 -105 -1845 -95
rect -1885 -125 -1875 -105
rect -1855 -125 -1845 -105
rect -1885 -135 -1845 -125
rect -1630 -35 -1005 -15
rect -805 -15 -785 5
rect -585 -15 -565 5
rect -365 -15 -345 5
rect -805 -35 -345 -15
rect -35 -15 -15 5
rect 185 -15 205 5
rect 405 -15 425 5
rect -35 -35 425 -15
rect -1630 -210 -1610 -35
rect 590 -130 645 -120
rect 590 -165 600 -130
rect 635 -165 645 -130
rect 590 -175 645 -165
rect -3565 -230 -1610 -210
<< viali >>
rect 600 855 635 890
rect -3535 255 -3515 425
rect -3385 255 -3365 425
rect -3235 255 -3215 425
rect -2875 410 -2855 430
rect -3535 25 -3515 95
rect -3385 25 -3365 95
rect -3235 25 -3215 95
rect -2785 255 -2765 425
rect -2420 415 -2400 435
rect -3080 20 -3060 40
rect -2785 25 -2765 95
rect -2325 255 -2305 425
rect -1960 405 -1940 425
rect -2625 20 -2605 40
rect -2325 25 -2305 95
rect -1800 255 -1780 425
rect -1405 265 -1385 335
rect -1185 265 -1165 335
rect -965 265 -945 335
rect -745 265 -725 335
rect -555 265 -535 335
rect -365 265 -345 335
rect -145 265 -125 335
rect 75 265 95 335
rect 295 265 315 335
rect 600 260 635 295
rect -2165 20 -2145 40
rect -1800 25 -1780 95
rect -1355 15 -1335 85
rect -1135 15 -1115 85
rect -940 15 -920 85
rect -695 15 -675 85
rect -475 15 -455 85
rect -285 15 -265 85
rect 75 15 95 85
rect 295 15 315 85
rect 600 55 635 90
rect 600 -165 635 -130
<< metal1 >>
rect 590 890 645 900
rect 590 855 600 890
rect 635 855 645 890
rect 590 845 645 855
rect -3600 435 440 440
rect -3600 430 -2420 435
rect -3600 425 -2875 430
rect -3600 255 -3535 425
rect -3515 255 -3385 425
rect -3365 255 -3235 425
rect -3215 410 -2875 425
rect -2855 425 -2420 430
rect -2855 410 -2785 425
rect -3215 255 -2785 410
rect -2765 415 -2420 425
rect -2400 425 440 435
rect -2400 415 -2325 425
rect -2765 255 -2325 415
rect -2305 405 -1960 425
rect -1940 405 -1800 425
rect -2305 255 -1800 405
rect -1780 335 440 425
rect -1780 265 -1405 335
rect -1385 265 -1185 335
rect -1165 265 -965 335
rect -945 265 -745 335
rect -725 265 -555 335
rect -535 265 -365 335
rect -345 265 -145 335
rect -125 265 75 335
rect 95 265 295 335
rect 315 265 440 335
rect -1780 255 440 265
rect -3600 240 440 255
rect 590 295 645 305
rect 590 260 600 295
rect 635 260 645 295
rect 590 250 645 260
rect -3600 95 440 110
rect -3600 25 -3535 95
rect -3515 25 -3385 95
rect -3365 25 -3235 95
rect -3215 40 -2785 95
rect -3215 25 -3080 40
rect -3600 20 -3080 25
rect -3060 25 -2785 40
rect -2765 40 -2325 95
rect -2765 25 -2625 40
rect -3060 20 -2625 25
rect -2605 25 -2325 40
rect -2305 40 -1800 95
rect -2305 25 -2165 40
rect -2605 20 -2165 25
rect -2145 25 -1800 40
rect -1780 85 440 95
rect -1780 25 -1355 85
rect -2145 20 -1355 25
rect -3600 15 -1355 20
rect -1335 15 -1135 85
rect -1115 15 -940 85
rect -920 15 -695 85
rect -675 15 -475 85
rect -455 15 -285 85
rect -265 15 75 85
rect 95 15 295 85
rect 315 15 440 85
rect 590 90 645 100
rect 590 55 600 90
rect 635 55 645 90
rect 590 45 645 55
rect -3600 0 440 15
rect 590 -130 645 -120
rect 590 -165 600 -130
rect 635 -165 645 -130
rect 590 -175 645 -165
<< via1 >>
rect 600 855 635 890
rect 600 260 635 295
rect 600 55 635 90
rect 600 -165 635 -130
<< metal2 >>
rect 590 890 645 900
rect 590 855 600 890
rect 635 855 645 890
rect 590 845 645 855
rect 590 295 645 305
rect 590 260 600 295
rect 635 260 645 295
rect 590 250 645 260
rect 590 90 645 100
rect 590 55 600 90
rect 635 55 645 90
rect 590 45 645 55
rect 590 -130 645 -120
rect 590 -165 600 -130
rect 635 -165 645 -130
rect 590 -175 645 -165
<< via2 >>
rect 600 855 635 890
rect 600 260 635 295
rect 600 55 635 90
rect 600 -165 635 -130
<< metal3 >>
rect 765 900 1215 925
rect 590 890 1215 900
rect 590 855 600 890
rect 635 855 1215 890
rect 590 845 1215 855
rect 765 305 1215 845
rect 590 295 1215 305
rect 590 260 600 295
rect 635 260 1215 295
rect 590 250 1215 260
rect 765 235 1215 250
rect 765 100 1055 115
rect 590 90 1055 100
rect 590 55 600 90
rect 635 55 1055 90
rect 590 45 1055 55
rect 765 -120 1055 45
rect 590 -130 1055 -120
rect 590 -165 600 -130
rect 635 -165 1055 -130
rect 590 -175 1055 -165
<< via3 >>
rect 600 260 635 295
rect 600 55 635 90
<< mimcap >>
rect 780 295 1200 910
rect 780 260 790 295
rect 825 260 1200 295
rect 780 250 1200 260
rect 780 90 1040 100
rect 780 55 790 90
rect 825 55 1040 90
rect 780 -160 1040 55
<< mimcapcontact >>
rect 790 260 825 295
rect 790 55 825 90
<< metal4 >>
rect 590 295 645 305
rect 590 260 600 295
rect 635 260 645 295
rect 590 250 645 260
rect 780 295 835 305
rect 780 260 790 295
rect 825 260 835 295
rect 780 250 835 260
rect 590 90 645 100
rect 590 55 600 90
rect 635 55 645 90
rect 590 45 645 55
rect 780 90 835 100
rect 780 55 790 90
rect 825 55 835 90
rect 780 45 835 55
<< labels >>
flabel locali 1325 175 1325 175 3 FreeSans 400 0 80 0 VOUT
flabel locali -3565 -220 -3565 -220 7 FreeSans 400 0 -200 0 I_IN
flabel poly -3565 -125 -3565 -125 7 FreeSans 400 0 -200 0 DOWN_PFD
flabel poly -3565 175 -3565 175 7 FreeSans 400 0 -200 0 UP_PFD
flabel metal1 -3600 340 -3600 340 7 FreeSans 400 0 -200 0 VDDA
flabel metal1 -3600 60 -3600 60 7 FreeSans 400 0 -200 0 GNDA
<< end >>
